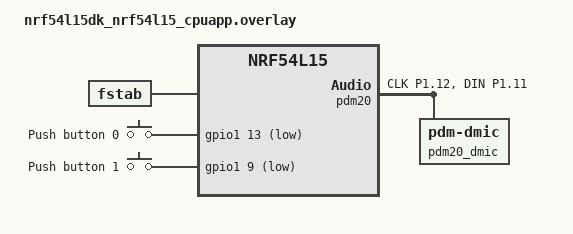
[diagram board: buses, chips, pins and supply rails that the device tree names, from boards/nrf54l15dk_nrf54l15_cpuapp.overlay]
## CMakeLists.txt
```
#
# Copyright (c) 2026
#
# SPDX-License-Identifier: Apache-2.0
#

cmake_minimum_required(VERSION 3.20.0)

# Opus codec and Ogg container: glue layers in modules/, sources in lib/
# (git submodules). Must be set before find_package(Zephyr).
set(ZEPHYR_EXTRA_MODULES
  ${CMAKE_CURRENT_SOURCE_DIR}/modules/opus
  ${CMAKE_CURRENT_SOURCE_DIR}/modules/ogg
)

find_package(Zephyr REQUIRED HINTS $ENV{ZEPHYR_BASE})
project(learning_zephyr_pdm)

target_sources(app PRIVATE
  src/main.c
  src/pdm_capture.c
  src/opus_enc.c
)
target_sources_ifdef(CONFIG_FILE_SYSTEM app PRIVATE src/recorder.c)
target_sources_ifdef(CONFIG_BT app PRIVATE src/smp_bt.c)
```

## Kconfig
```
menu "PDM & Encoder audio demo"

# The application image always includes the Opus encoder (CONFIG_OPUS=y
# in the base configs). Opus is fixed-point only, so no FPU is needed.

choice
	prompt "PCM sample rate"
	default PDM_DEMO_SAMPLE_RATE_16000
	help
	  PCM sample rate produced by the PDM/DMIC path and fed to the Opus
	  encoder. 48 kHz is not offered: it exceeds the Opus CPU budget
	  (stereo) and has no exact clock from 32 MHz. Of the remaining
	  rates only 8/16 kHz have an exact PDM clock; 12/24 kHz land
	  ~0.6-0.8% off and 24 kHz stereo is marginal on CPU. A
	  build-time assert in opus_enc.c rejects combinations whose
	  encode estimate exceeds 75% of the block period.

config PDM_DEMO_SAMPLE_RATE_8000
	bool "8 kHz"

config PDM_DEMO_SAMPLE_RATE_12000
	bool "12 kHz"

config PDM_DEMO_SAMPLE_RATE_16000
	bool "16 kHz"

config PDM_DEMO_SAMPLE_RATE_24000
	bool "24 kHz"

endchoice

# Numeric form of the choice above, for arithmetic in the code.
config PDM_DEMO_SAMPLE_RATE
	int
	default 8000 if PDM_DEMO_SAMPLE_RATE_8000
	default 12000 if PDM_DEMO_SAMPLE_RATE_12000
	default 16000 if PDM_DEMO_SAMPLE_RATE_16000
	default 24000 if PDM_DEMO_SAMPLE_RATE_24000

choice
	prompt "PDM channel configuration"
	default PDM_DEMO_STEREO
	help
	  Stereo captures both PDM channels as interleaved 16-bit PCM.
	  Mono captures one of the two PDM_CLK half-cycle slots; pick the
	  edge matching the external microphone SEL strap (see the
	  options' help text).

config PDM_DEMO_STEREO
	bool "Stereo (interleaved left/right)"

config PDM_DEMO_MONO_RISING_EDGE
	bool "Mono, rising-edge slot (SEL-low microphone)"
	help
	  Capture the microphone whose data is valid on the rising edge
	  of PDM_CLK - the one with SEL/LR strapped to GND ("left" in
	  most microphone datasheets).

config PDM_DEMO_MONO_FALLING_EDGE
	bool "Mono, falling-edge slot (SEL-high microphone)"
	help
	  Capture the microphone whose data is valid on the falling edge
	  of PDM_CLK - the one with SEL/LR strapped to VDD ("right" in
	  most microphone datasheets).

endchoice

choice
	prompt "PCM DMA block duration"
	default PDM_DEMO_BLOCK_MS_20
	help
	  Each block is encoded as exactly one Opus frame, so only legal
	  Opus frame durations are offered. Smaller blocks wake the CPU
	  more often during capture.

config PDM_DEMO_BLOCK_MS_5
	bool "5 ms"

config PDM_DEMO_BLOCK_MS_10
	bool "10 ms"

config PDM_DEMO_BLOCK_MS_20
	bool "20 ms"

config PDM_DEMO_BLOCK_MS_40
	bool "40 ms"

config PDM_DEMO_BLOCK_MS_60
	bool "60 ms"

endchoice

# Numeric form of the choice above, for arithmetic in the code.
config PDM_DEMO_BLOCK_MS
	int
	default 5 if PDM_DEMO_BLOCK_MS_5
	default 10 if PDM_DEMO_BLOCK_MS_10
	default 20 if PDM_DEMO_BLOCK_MS_20
	default 40 if PDM_DEMO_BLOCK_MS_40
	default 60 if PDM_DEMO_BLOCK_MS_60

# The number of PCM DMA blocks is not a Kconfig: it is derived from the
# devicetree `queue-size` property of the pdm20 node (single source of
# truth, see pdm_capture.c).

config PDM_DEMO_OPUS_COMPLEXITY
	int "Opus encoder complexity (0-10)"
	default 0
	range 0 10
	help
	  Opus complexity setting. Higher values cost more CPU: complexity
	  10 is far from real time on a 128 MHz Cortex-M33 (~250 ms per
	  20 ms stereo frame), keep at 0 for this demo.

config PDM_DEMO_GAIN_DB
	int "Digital gain on PCM before Opus encoding (dB)"
	default 0
	range 0 40
	help
	  Fixed-point gain applied to every PCM sample ahead of the Opus
	  encoder (gain after compression would need a decode/gain/re-encode
	  round trip). 6 dB doubles the amplitude. Too much gain clips loud
	  sounds (samples saturate at int16 range).

config PDM_DEMO_REC_SECONDS
	int "Maximum recording length (seconds)"
	default 300
	range 1 3600
	help
	  Recording is toggled with Button 0; this is the safety cap at
	  which a recording stops and the file is saved automatically,
	  so a forgotten recording cannot fill the flash.

config PDM_DEMO_PDM_ONLY
	bool "PDM + Opus only power baseline (no storage, LED or BLE)"
    default n
	help
	  Pure PDM capture + Opus encoding mode for power measurement:
	  the encoded frames are discarded, and recording to flash, the
	  LED and BLE/SMP are all compiled out. Used by prj_pdm_only.conf,
	  which also disables serial/logging. The base configuration must
	  not enable FILE_SYSTEM or BT when this is set.

# The Opus encoder state is malloc'ed at startup (measured 43308 bytes
# at 16 kHz stereo, fixed-point), in all configurations including
# pdm_only (encoder created but its output discarded).
config HEAP_MEM_POOL_SIZE
	default 131072

# opus_encode() uses alloca for temporary buffers; the float path
# overflowed a 24 KB main stack in testing.
config MAIN_STACK_SIZE
	default 65536

endmenu

source "Kconfig.zephyr"
```

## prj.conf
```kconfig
#
# PDM Opus recorder for nRF54L15 / nRF54LM20 DK
# Debug configuration with asynchronous UART logging.
#

#
# Zephyr / NCS subsystems
#

# --- Console and serial logging ---
CONFIG_SERIAL=y
CONFIG_CONSOLE=y
CONFIG_UART_CONSOLE=y
CONFIG_LOG=y
CONFIG_LOG_BACKEND_UART_ASYNC=y
CONFIG_UART_ASYNC_API=y
CONFIG_LOG_PRINTK=y
CONFIG_CONSOLE_HANDLER=n
# Silence the Bluetooth host's own boot chatter (HCI version, identity,
# adv/scan internals all share the bt_hci_core log module). Advertising
# and connection events are logged by the app itself (smp_bt.c).
CONFIG_BT_HCI_CORE_LOG_LEVEL_OFF=y

# --- Digital microphone ---
CONFIG_AUDIO=y
CONFIG_AUDIO_DMIC=y
CONFIG_AUDIO_DMIC_NRFX_PDM=y

# --- GPIO and PDM pin control ---
# Button/LED come from the NCS DK library (debounce built in).
CONFIG_DK_LIBRARY=y

# --- External flash (MX25R64 on spi00) and LittleFS ---
CONFIG_SPI=y
CONFIG_SPI_NOR=y
CONFIG_FLASH=y
CONFIG_FLASH_MAP=y
CONFIG_FILE_SYSTEM=y
CONFIG_FILE_SYSTEM_LITTLEFS=y
# 4 KB layout pages for the MX25R64.
CONFIG_SPI_NOR_FLASH_LAYOUT_PAGE_SIZE=4096
# Larger LittleFS cache (fewer, bigger flash programs). Must match the
# cache-size property of the lfs1 node in boards/*.overlay: Zephyr sizes
# the file-cache heap from this Kconfig value while the runtime cache
# comes from Devicetree; a mismatch makes fs_open fail with ENOMEM.
CONFIG_FS_LITTLEFS_CACHE_SIZE=512

# --- Bluetooth ---
CONFIG_BT=y
CONFIG_BT_PERIPHERAL=y
CONFIG_BT_DEVICE_NAME="PDM_SMP"
# Large MTU: one SMP chunk per ATT notification spans up to 4 LL PDUs,
# so a single connection event moves more data. Phones cap the
# negotiated MTU at their own maximum (~517), which is fine.
CONFIG_BT_L2CAP_TX_MTU=988
CONFIG_BT_BUF_ACL_RX_SIZE=992
CONFIG_BT_BUF_ACL_TX_SIZE=992
CONFIG_BT_CTLR_DATA_LENGTH_MAX=251
# Idle connection parameters (peripheral preferred): 100-200 ms interval
# for low idle current. During SMP transfers MCUMgr's conn-param control
# temporarily switches to 7.5-11.25 ms and restores these after 5 s of
# inactivity, so transfers stay fast. Supervision timeout must exceed
# 2 x max interval (latency 0).
CONFIG_BT_PERIPHERAL_PREF_MIN_INT=80
CONFIG_BT_PERIPHERAL_PREF_MAX_INT=160
CONFIG_BT_PERIPHERAL_PREF_TIMEOUT=100

# --- MCUMgr file management (download recordings from /lfs1) ---
CONFIG_NET_BUF=y
CONFIG_ZCBOR=y
CONFIG_CRC=y
CONFIG_MCUMGR=y
CONFIG_MCUMGR_GRP_FS=y
# OS group: echo/reset, handy for connectivity checks.
CONFIG_MCUMGR_GRP_OS=y
# fs upload overflows the default 1024-byte system workqueue stack.
CONFIG_SYSTEM_WORKQUEUE_STACK_SIZE=2304
# MCUMgr BLE transport (unauthenticated, same as the smp_svr sample).
CONFIG_MCUMGR_TRANSPORT_BT=y
CONFIG_MCUMGR_TRANSPORT_BT_CONN_PARAM_CONTROL=y
CONFIG_MCUMGR_TRANSPORT_BT_REASSEMBLY=y
CONFIG_MCUMGR_TRANSPORT_NETBUF_SIZE=2475
CONFIG_MCUMGR_GRP_OS_MCUMGR_PARAMS=y
CONFIG_MCUMGR_TRANSPORT_WORKQUEUE_STACK_SIZE=4608

# --- Shell over SMP (run `fs ls /lfs1` etc. from the phone app) ---
# Dummy backend: no UART shell, the shell is only driven via MCUMgr.
CONFIG_SHELL=y
CONFIG_SHELL_BACKEND_DUMMY=y
CONFIG_SHELL_BACKEND_SERIAL=n
CONFIG_SHELL_LOG_BACKEND=n
CONFIG_MCUMGR_GRP_SHELL=y
CONFIG_FILE_SYSTEM_SHELL=y

# --- Device runtime power management ---
# Peripherals marked zephyr,pm-device-runtime-auto in the overlays suspend
# themselves when idle. Note: dmic_nrfx_pdm has no PM support, so the
# property on pdm20 is inert until the driver gains it.
CONFIG_PM_DEVICE=y
CONFIG_PM_DEVICE_RUNTIME=y
# Keep the flash awake for a while after each access; during recording
# fs ops arrive every few ms, so the flash stays active for the whole
# clip instead of paying a deep-power-down exit per operation.
CONFIG_SPI_NOR_ACTIVE_DWELL_MS=500

# --- Application resources ---
CONFIG_ASSERT=y

#
# Third-party libraries (external modules)
#

# --- Opus codec ---
# Shared audio parameters (sample rate, block duration, channels) are
# Kconfig options; see Kconfig for details.
CONFIG_OPUS=y

# --- Ogg container (Opus frames are stored as playable .opus files) ---
CONFIG_OGG=y

#
# Application options
#

# The on-board microphone is quiet; +12 dB (x4 amplitude) on the PCM
# before encoding. Applies to all configurations with storage/encoding.
CONFIG_PDM_DEMO_GAIN_DB=12
```

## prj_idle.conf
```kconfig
#
# Idle baseline image.
# The application returns immediately and PDM/DMIC are disabled.
#

CONFIG_PDM_DEMO_ENABLE=n
CONFIG_AUDIO_DMIC=n
CONFIG_AUDIO_DMIC_NRFX_PDM=n
CONFIG_NRFX_PDM=n

CONFIG_LOG=n
CONFIG_LOG_BACKEND_UART_ASYNC=n
CONFIG_UART_ASYNC_API=n
CONFIG_SERIAL=n
CONFIG_CONSOLE=n
CONFIG_UART_CONSOLE=n
CONFIG_LOG_PRINTK=n
CONFIG_NCS_BOOT_BANNER=n
CONFIG_BOOT_BANNER=n
CONFIG_EARLY_CONSOLE=n
CONFIG_PRINTK=n
CONFIG_UART_20_ASYNC=n
```

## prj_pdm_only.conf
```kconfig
#
# Pure PDM + Opus power baseline: button-toggled capture and encoding,
# but no storage, no LED, no SMP/BLE, no serial — so the radio and flash
# never perturb the measurement.
# Build with: -DFILE_SUFFIX=pdm_only
#

#
# Zephyr / NCS subsystems
#

# --- No serial / console / logging ---
CONFIG_SERIAL=n
CONFIG_CONSOLE=n
CONFIG_LOG=n
CONFIG_LOG_PRINTK=n
CONFIG_PRINTK=n
CONFIG_NCS_BOOT_BANNER=n
CONFIG_BOOT_BANNER=n
CONFIG_EARLY_CONSOLE=n
# The board defconfig sets this; silence the resulting warning.
CONFIG_UART_CONSOLE=n

# --- Digital microphone ---
CONFIG_AUDIO=y
CONFIG_AUDIO_DMIC=y
CONFIG_AUDIO_DMIC_NRFX_PDM=y
# Button comes from the NCS DK library (debounce built in).
CONFIG_DK_LIBRARY=y

# --- Device runtime power management ---
CONFIG_PM_DEVICE=y
CONFIG_PM_DEVICE_RUNTIME=y

# --- Application resources ---
CONFIG_ASSERT=y

#
# Third-party libraries (external modules)
#

# --- Opus codec (encoded, not stored) ---
CONFIG_OPUS=y

#
# Application options
#

# Power-baseline mode: main.c compiles out storage/LED (see Kconfig).
CONFIG_PDM_DEMO_PDM_ONLY=y
```

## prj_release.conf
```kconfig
#
# Release base configuration for current measurement.
# Build with: -DFILE_SUFFIX=release
#
# Full feature set: PDM capture + Opus encoding + button recording +
# SMP over BLE. Serial/logging disabled, so no UART SMP transport.
#

#
# Zephyr / NCS subsystems
#

# --- No serial / console / logging ---
CONFIG_SERIAL=n
CONFIG_CONSOLE=n
CONFIG_LOG=n
CONFIG_LOG_PRINTK=n
CONFIG_PRINTK=n
CONFIG_NCS_BOOT_BANNER=n
CONFIG_BOOT_BANNER=n
CONFIG_EARLY_CONSOLE=n
# The board defconfig sets this; silence the resulting warning.
CONFIG_UART_CONSOLE=n

# --- Digital microphone ---
CONFIG_AUDIO=y
CONFIG_AUDIO_DMIC=y
CONFIG_AUDIO_DMIC_NRFX_PDM=y
# Button/LED come from the NCS DK library (debounce built in).
CONFIG_DK_LIBRARY=y

# --- External flash (MX25R64 on spi00) and LittleFS ---
CONFIG_SPI=y
CONFIG_SPI_NOR=y
CONFIG_SPI_NOR_FLASH_LAYOUT_PAGE_SIZE=4096
# See prj.conf: larger LittleFS cache (must match the overlay's
# cache-size, or the file-cache heap is under-allocated).
CONFIG_FS_LITTLEFS_CACHE_SIZE=512
CONFIG_FLASH=y
CONFIG_FLASH_MAP=y
CONFIG_FILE_SYSTEM=y
CONFIG_FILE_SYSTEM_LITTLEFS=y

# --- Bluetooth ---
CONFIG_BT=y
CONFIG_BT_PERIPHERAL=y
CONFIG_BT_DEVICE_NAME="PDM_SMP"
# See prj.conf: large MTU (more data per connection event), 100-200 ms
# idle connection interval (MCUMgr temporarily speeds up during SMP
# transfers), 1 s supervision timeout.
CONFIG_BT_L2CAP_TX_MTU=988
CONFIG_BT_BUF_ACL_RX_SIZE=992
CONFIG_BT_BUF_ACL_TX_SIZE=992
CONFIG_BT_CTLR_DATA_LENGTH_MAX=251
CONFIG_BT_PERIPHERAL_PREF_MIN_INT=80
CONFIG_BT_PERIPHERAL_PREF_MAX_INT=160
CONFIG_BT_PERIPHERAL_PREF_TIMEOUT=100

# --- MCUMgr file management over BLE ---
CONFIG_NET_BUF=y
CONFIG_ZCBOR=y
CONFIG_CRC=y
CONFIG_MCUMGR=y
CONFIG_MCUMGR_GRP_FS=y
CONFIG_MCUMGR_GRP_OS=y
# fs upload overflows the default 1024-byte system workqueue stack.
CONFIG_SYSTEM_WORKQUEUE_STACK_SIZE=2304
CONFIG_MCUMGR_TRANSPORT_BT=y
CONFIG_MCUMGR_TRANSPORT_BT_CONN_PARAM_CONTROL=y
CONFIG_MCUMGR_TRANSPORT_BT_REASSEMBLY=y
CONFIG_MCUMGR_TRANSPORT_NETBUF_SIZE=2475
CONFIG_MCUMGR_GRP_OS_MCUMGR_PARAMS=y
CONFIG_MCUMGR_TRANSPORT_WORKQUEUE_STACK_SIZE=4608

# --- Shell over SMP (fs ls etc. from the phone app) ---
CONFIG_SHELL=y
CONFIG_SHELL_BACKEND_DUMMY=y
CONFIG_SHELL_BACKEND_SERIAL=n
CONFIG_SHELL_LOG_BACKEND=n
CONFIG_MCUMGR_GRP_SHELL=y
CONFIG_FILE_SYSTEM_SHELL=y

# --- Device runtime power management ---
CONFIG_PM_DEVICE=y
CONFIG_PM_DEVICE_RUNTIME=y
CONFIG_SPI_NOR_ACTIVE_DWELL_MS=500

# --- Application resources ---
CONFIG_ASSERT=y

#
# Third-party libraries (external modules)
#

# --- Opus codec ---
CONFIG_OPUS=y

# --- Ogg container ---
CONFIG_OGG=y

#
# Application options
#

CONFIG_PDM_DEMO_GAIN_DB=12
```

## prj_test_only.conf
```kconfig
#
# Pure PDM + Opus power baseline: button-toggled capture and encoding,
# but no storage, no LED, no SMP/BLE, no serial — so the radio and flash
# never perturb the measurement.
# Build with: -DFILE_SUFFIX=test_only
#

# --- No serial / console / logging ---
CONFIG_SERIAL=n
CONFIG_CONSOLE=n
CONFIG_LOG=n
CONFIG_LOG_PRINTK=n
CONFIG_PRINTK=n
CONFIG_NCS_BOOT_BANNER=n
CONFIG_BOOT_BANNER=n
CONFIG_EARLY_CONSOLE=n
# The board defconfig sets this; silence the resulting warning.
CONFIG_UART_CONSOLE=n

# --- Digital microphone + Opus (encoded, not stored) ---
CONFIG_AUDIO=y
CONFIG_AUDIO_DMIC=y
CONFIG_AUDIO_DMIC_NRFX_PDM=y
CONFIG_GPIO=y
CONFIG_OPUS=y

# --- Device runtime power management ---
CONFIG_PM_DEVICE=y
CONFIG_PM_DEVICE_RUNTIME=y

# --- Application resources ---
CONFIG_ASSERT=y
```

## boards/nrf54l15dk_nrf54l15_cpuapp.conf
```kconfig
#
# nRF54L15DK application-core board configuration
#

CONFIG_UART_20_ASYNC=y
```

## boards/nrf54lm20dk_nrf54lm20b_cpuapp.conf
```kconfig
#
# nRF54LM20DK application-core board configuration
#

CONFIG_UART_20_ASYNC=y
```

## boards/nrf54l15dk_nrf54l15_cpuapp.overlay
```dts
/*
 * nRF54L15DK PDM Opus recorder.
 *
 * PDM20:
 *   CLK: P1.12
 *   DIN: P1.11
 *
 * PDM capture starts automatically after boot.
 */

/ {
	/* LittleFS auto-mounts at /lfs1. */
	fstab {
		compatible = "zephyr,fstab";

		lfs1: lfs1 {
			compatible = "zephyr,fstab,littlefs";
			mount-point = "/lfs1";
			partition = <&lfs1_partition>;
			automount;
			/* Program in full 256-byte MX25R64 flash pages:
			 * 16-byte progs turn one 4 KB Ogg page write into
			 * 256 page-program commands (~100-180 ms), stalling
			 * the capture loop and burning power.
			 * NOTE: cache-size is a required binding property, but
			 * Zephyr sizes the file-cache heap from
			 * CONFIG_FS_LITTLEFS_CACHE_SIZE only - keep the two
			 * in sync or fs_open fails with ENOMEM. */
			read-size = <16>;
			prog-size = <256>;
			cache-size = <512>;
			lookahead-size = <32>;
			block-cycles = <512>;
		};
	};

	/* Buttons used by the demo, re-declared from the board dts so the
	 * app does not silently break if the board defaults ever change:
	 *   Button 0 (P1.13): start/stop recording
	 *   Button 1 (P1.9):  long-press deletes all recordings */
	buttons {
		button_0 {
			gpios = <&gpio1 13 (GPIO_PULL_UP | GPIO_ACTIVE_LOW)>;
			label = "Push button 0";
			zephyr,code = <INPUT_KEY_0>;
		};

		button_1 {
			gpios = <&gpio1 9 (GPIO_PULL_UP | GPIO_ACTIVE_LOW)>;
			label = "Push button 1";
			zephyr,code = <INPUT_KEY_1>;
		};
	};
};

/* External flash (MX25R64 on spi00): whole 8 MB for LittleFS.
 * Raise the clock to the SPIM00 maximum (128 MHz core / 4) to shorten
 * fs_write stalls. */
&mx25r64 {
	spi-max-frequency = <32000000>;
	zephyr,pm-device-runtime-auto;

	partitions {
		compatible = "fixed-partitions";
		#address-cells = <1>;
		#size-cells = <1>;

		lfs1_partition: partition@0 {
			label = "lfs1_partition";
			reg = <0x00000000 0x00800000>;
		};
	};
};

&pdm20 {
	status = "okay";
	pinctrl-0 = <&pdm20_default_pdm_demo>;
	pinctrl-1 = <&pdm20_sleep_pdm_demo>;
	pinctrl-names = "default", "sleep";
	clock-source = "PCLK32M";
	queue-size = <16>;
	zephyr,pm-device-runtime-auto;

	pdm20_dmic: dmic {
		compatible = "zephyr,pdm-dmic";
		status = "okay";
		/* PDM clock window for the driver's prescaler/ratio search
		 * (PDM_CLK = 32 MHz / prescaler, PCM = PDM_CLK / ratio).
		 * 500 kHz floor still allows exact 8 kHz (640 kHz) and
		 * best-effort 12 kHz (604 kHz); 2 MHz ceiling keeps the
		 * clock within what a standard GPIO edge rate handles
		 * safely. Exact rates from 32 MHz: 8/16 kHz; 12/24 kHz
		 * land ~0.6-0.8% off; 48 kHz would need 2.29 MHz and is
		 * excluded by the ceiling (stereo 48 kHz also exceeds the
		 * Opus CPU budget, see opus_enc.c). */
		clk-frequency-min = <500000>;
		clk-frequency-max = <2000000>;
		clk-duty-cycle-min = <40>;
		clk-duty-cycle-max = <60>;
		channel-left;
		channel-right;
	};
};

/* Buttons 0/1 (P1.13, P1.9): use the GPIO sense mechanism (port event)
 * for edge detection instead of GPIOTE pin-event channels. The mask is
 * per-pin, so every button pin must be listed explicitly. */
&gpio1 {
	sense-edge-mask = <(BIT(13) | BIT(9))>;
};

/* Runtime PM for the console UART and the external-flash SPI bus;
 * the drivers resume them on demand (log TX / fs access). */
&uart20 {
	zephyr,pm-device-runtime-auto;
};

&spi00 {
	zephyr,pm-device-runtime-auto;
};

&pinctrl {
	pdm20_default_pdm_demo: pdm20_default_pdm_demo {
		group1 {
			psels = <NRF_PSEL(PDM_CLK, 1, 12)>,
					<NRF_PSEL(PDM_DIN, 1, 11)>;
			nordic,drive-mode = <NRF_DRIVE_H0H1>;
		};
	};

	pdm20_sleep_pdm_demo: pdm20_sleep_pdm_demo {
		group1 {
			psels = <NRF_PSEL(PDM_CLK, 1, 12)>,
					<NRF_PSEL(PDM_DIN, 1, 11)>;
			low-power-enable;
		};
	};
};
```

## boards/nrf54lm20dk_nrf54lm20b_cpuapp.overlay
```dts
/*
 * nRF54LM20DK PDM Opus recorder.
 *
 * PDM20:
 *   CLK: P1.12
 *   DIN: P1.11
 *
 * PDM capture starts automatically after boot.
 */

/ {
	/* LittleFS auto-mounts at /lfs1. */
	fstab {
		compatible = "zephyr,fstab";

		lfs1: lfs1 {
			compatible = "zephyr,fstab,littlefs";
			mount-point = "/lfs1";
			partition = <&lfs1_partition>;
			automount;
			/* Program in full 256-byte MX25R64 flash pages:
			 * 16-byte progs turn one 4 KB Ogg page write into
			 * 256 page-program commands (~100-180 ms), stalling
			 * the capture loop and burning power.
			 * NOTE: cache-size is a required binding property, but
			 * Zephyr sizes the file-cache heap from
			 * CONFIG_FS_LITTLEFS_CACHE_SIZE only - keep the two
			 * in sync or fs_open fails with ENOMEM. */
			read-size = <16>;
			prog-size = <256>;
			cache-size = <512>;
			lookahead-size = <32>;
			block-cycles = <512>;
		};
	};

	/* Buttons used by the demo, re-declared from the board dts so the
	 * app does not silently break if the board defaults ever change:
	 *   Button 0 (P1.26): start/stop recording
	 *   Button 1 (P1.9):  long-press deletes all recordings */
	buttons {
		button_0 {
			gpios = <&gpio1 26 (GPIO_PULL_UP | GPIO_ACTIVE_LOW)>;
			label = "Push button 0";
			zephyr,code = <INPUT_KEY_0>;
		};

		button_1 {
			gpios = <&gpio1 9 (GPIO_PULL_UP | GPIO_ACTIVE_LOW)>;
			label = "Push button 1";
			zephyr,code = <INPUT_KEY_1>;
		};
	};
};

/* External flash (MX25R64 on spi00): whole 8 MB for LittleFS.
 * Disabled in the board dts, enable it here. Raise the clock to the
 * SPIM00 maximum (128 MHz core / 4) to shorten fs_write stalls. */
&mx25r64 {
	status = "okay";
	spi-max-frequency = <32000000>;
	zephyr,pm-device-runtime-auto;

	partitions {
		compatible = "fixed-partitions";
		#address-cells = <1>;
		#size-cells = <1>;

		lfs1_partition: partition@0 {
			label = "lfs1_partition";
			reg = <0x00000000 0x00800000>;
		};
	};
};

&pdm20 {
	status = "okay";
	pinctrl-0 = <&pdm20_default_pdm_demo>;
	pinctrl-1 = <&pdm20_sleep_pdm_demo>;
	pinctrl-names = "default", "sleep";
	clock-source = "PCLK32M";
	queue-size = <16>;
	zephyr,pm-device-runtime-auto;

	pdm20_dmic: dmic {
		compatible = "zephyr,pdm-dmic";
		status = "okay";
		/* PDM clock window for the driver's prescaler/ratio search
		 * (PDM_CLK = 32 MHz / prescaler, PCM = PDM_CLK / ratio).
		 * 500 kHz floor still allows exact 8 kHz (640 kHz) and
		 * best-effort 12 kHz (604 kHz); 2 MHz ceiling keeps the
		 * clock within what a standard GPIO edge rate handles
		 * safely. Exact rates from 32 MHz: 8/16 kHz; 12/24 kHz
		 * land ~0.6-0.8% off; 48 kHz would need 2.29 MHz and is
		 * excluded by the ceiling (stereo 48 kHz also exceeds the
		 * Opus CPU budget, see opus_enc.c). */
		clk-frequency-min = <500000>;
		clk-frequency-max = <2000000>;
		clk-duty-cycle-min = <40>;
		clk-duty-cycle-max = <60>;
		channel-left;
		channel-right;
	};
};

/* Buttons 0/1 (P1.26, P1.9): use the GPIO sense mechanism (port event)
 * for edge detection instead of GPIOTE pin-event channels. The mask is
 * per-pin, so every button pin must be listed explicitly. */
&gpio1 {
	sense-edge-mask = <(BIT(26) | BIT(9))>;
};

/* Runtime PM on the console UART and the external-flash SPI bus too;
 * the drivers resume them on demand (log TX / fs access). During
 * recording the app pins flash+bus active with pm_device_runtime_get()
 * (see recorder.c) so per-op resume latency cannot starve the
 * real-time capture loop. */
&uart20 {
	zephyr,pm-device-runtime-auto;
};

&spi00 {
	zephyr,pm-device-runtime-auto;
};

&pinctrl {
	pdm20_default_pdm_demo: pdm20_default_pdm_demo {
		group1 {
			psels = <NRF_PSEL(PDM_CLK, 1, 12)>,
				<NRF_PSEL(PDM_DIN, 1, 11)>;
			nordic,drive-mode = <NRF_DRIVE_H0H1>;
		};
	};

	pdm20_sleep_pdm_demo: pdm20_sleep_pdm_demo {
		group1 {
			psels = <NRF_PSEL(PDM_CLK, 1, 12)>,
				<NRF_PSEL(PDM_DIN, 1, 11)>;
			low-power-enable;
		};
	};
};
```

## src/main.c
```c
/*
 * nrf54l_pdm_opus_recorder — nRF54L15/LM20 DK PDM Opus recorder
 *
 * This file is only the demo state machine; each building block lives in
 * its own module so they can be read independently:
 *
 *   pdm_capture.c  PDM20/DMIC capture (PCM blocks)
 *   opus_enc.c     Opus encoder wrapper
 *   recorder.c     Ogg Opus files on LittleFS (external flash)
 *   smp_bt.c       BLE SMP (MCUMgr) file transfer
 *
 * PDM stays off at idle. Pressing Button 0 starts capture and records
 * Opus audio to /lfs1/rec_XXXX.opus; pressing it again (or reaching
 * CONFIG_PDM_DEMO_REC_SECONDS) stops and saves. LED0 is on while
 * recording. Long-pressing Button 1 deletes all recordings.
 *
 * SPDX-License-Identifier: Apache-2.0
 */

#include <errno.h>
#include <stdbool.h>
#include <stddef.h>
#include <stdint.h>

#if CONFIG_PDM_DEMO_GAIN_DB > 0
#include <math.h>
#endif

#include <dk_buttons_and_leds.h>

#include <zephyr/kernel.h>

#include <zephyr/logging/log.h>

#include "audio_defs.h"
#include "opus_enc.h"
#include "pdm_capture.h"
#include "recorder.h"

LOG_MODULE_REGISTER(pdm_opus_recorder, LOG_LEVEL_INF);

/* prj_pdm_only.conf is a pure PDM + Opus power baseline: no storage,
 * no LED, no BLE. Everything file/LED related is compiled out there. */
#define RECORDER_ENABLED	(!IS_ENABLED(CONFIG_PDM_DEMO_PDM_ONLY))

#if !RECORDER_ENABLED
BUILD_ASSERT(!IS_ENABLED(CONFIG_FILE_SYSTEM) && !IS_ENABLED(CONFIG_BT),
	     "pdm_only must not enable storage or BLE");
#endif

/* --- Button 0 / LED 0 (NCS DK library, debounce built in) --- */

#define REC_BTN_EVT	BIT(0)
#define DEL_BTN_EVT	BIT(1)

/* The DK library numbers buttons/LEDs from 1 (an nRF52 DK legacy),
 * while the nRF54L DK silkscreen and devicetree number them from 0:
 * DK_BTN1 / DK_LED1 are the on-board Button 0 / LED 0. */
#define REC_BTN_MSK	DK_BTN1_MSK
#define REC_LED		DK_LED1

/* Long-press Button 1 (DK library DK_BTN2) to delete all recordings. */
#define DEL_BTN_MSK		DK_BTN2_MSK
#define DEL_LED			DK_LED2
#define DEL_LONG_PRESS_MS	3000

static K_EVENT_DEFINE(rec_events);

/* Desired recording state, toggled by the debounced button callback
 * (system workqueue context); the main loop turns it into actual
 * capture start/stop. */
static volatile bool rec_active;

/* Long-press detection: the debounced DK handler only reports edges,
 * so a press arms a delayed work and a release cancels it; if it
 * expires, the button has been held for DEL_LONG_PRESS_MS. */
static void del_work_handler(struct k_work *work);

static K_WORK_DELAYABLE_DEFINE(del_work, del_work_handler);

static void del_work_handler(struct k_work *work)
{
	ARG_UNUSED(work);
	k_event_post(&rec_events, DEL_BTN_EVT);
}

static void button_handler(uint32_t state, uint32_t changed)
{
	if ((changed & REC_BTN_MSK) && (state & REC_BTN_MSK)) {
		rec_active = !rec_active;
#if RECORDER_ENABLED
		/* LED0 follows the recording state. */
		(void)dk_set_led(REC_LED, rec_active);
#endif
		k_event_post(&rec_events, REC_BTN_EVT);
	}

	if (changed & DEL_BTN_MSK) {
		if (state & DEL_BTN_MSK) {
			k_work_reschedule(&del_work,
					  K_MSEC(DEL_LONG_PRESS_MS));
		} else {
			(void)k_work_cancel_delayable(&del_work);
		}
	}
}

/* LED is part of the storage demo only; the pdm_only configuration is a
 * power baseline and keeps it off. */
static void rec_led_off(void)
{
#if RECORDER_ENABLED
	(void)dk_set_led_off(REC_LED);
#endif
}

#if RECORDER_ENABLED
/* Delete all recordings (long-press path). LED1 is on while erasing. */
static void delete_all_recordings(void)
{
	int ret;

	(void)dk_set_led_on(DEL_LED);
	ret = recorder_delete_all();
	(void)dk_set_led_off(DEL_LED);

	if (ret >= 0) {
		LOG_INF("Deleted all recordings (%d file(s))", ret);
	} else {
		LOG_WRN("Delete all failed: %d", ret);
	}
}
#endif

/* --- PCM gain (applied before Opus encoding) --- */

#if CONFIG_PDM_DEMO_GAIN_DB > 0
static int32_t gain_q16 = 65536; /* Q16, 1.0x */

static void gain_init(void)
{
	gain_q16 = (int32_t)(pow(10.0, CONFIG_PDM_DEMO_GAIN_DB / 20.0) *
			     65536.0);
	LOG_INF("PCM gain %d dB (x%u.%02u)", CONFIG_PDM_DEMO_GAIN_DB,
		(unsigned)(gain_q16 >> 16),
		(unsigned)((gain_q16 & 0xFFFF) * 100 / 65536));
}

/* Fixed-point Q16 multiply with int16 saturation. Gain must live before
 * compression: Opus packets cannot be scaled linearly.
 * The product is computed in int64: with int32 the multiply can overflow
 * (signed overflow is UB), which lets the compiler legally optimize the
 * CLAMP away entirely - loud signals then wrap around instead of
 * saturating. */
static void apply_gain(int16_t *samples, size_t size)
{
	for (size_t i = 0; i < size / sizeof(*samples); i++) {
		int32_t s = (int32_t)(((int64_t)samples[i] * gain_q16 +
				       0x8000) >> 16);

		samples[i] = (int16_t)CLAMP(s, INT16_MIN, INT16_MAX);
	}
}
#else
static void gain_init(void) { }
#endif

/* --- Recording chain helpers --- */

/* Start the whole chain: PDM capture + file recording. */
static int recording_start(void)
{
	if (pdm_capture_start() < 0) {
		return -EIO;
	}
#if RECORDER_ENABLED
	if (recorder_start() < 0) {
		pdm_capture_stop();
		return -EIO;
	}
#endif
	return 0;
}

/* Stop PDM first (no new frames), then flush the file. */
static void recording_stop(void)
{
	pdm_capture_stop();
#if RECORDER_ENABLED
	/* No-op when the CONFIG_PDM_DEMO_REC_SECONDS cap already closed
	 * the file. */
	recorder_stop();
#endif
}

static void log_stats(uint32_t block_count)
{
	uint64_t bytes_total;
	uint32_t max_us, err;

	opus_enc_get_stats(&bytes_total, &max_us, &err);
	LOG_INF("Blocks %u, opus avg %llu B/frame, max enc %u us, err %u",
		block_count, bytes_total / block_count, max_us, err);
}

static void capture_loop(void)
{
	static uint8_t opus_packet[OPUS_MAX_PACKET];

	while (true) {
		/* Idle: PDM off, sleep until the button toggles rec_active
		 * or a long press requests a delete-all. A delete request
		 * posted during recording is handled once the clip ends. */
		uint32_t evt = k_event_wait(&rec_events,
					    REC_BTN_EVT | DEL_BTN_EVT,
					    true, K_FOREVER);

#if RECORDER_ENABLED
		if (evt & DEL_BTN_EVT) {
			delete_all_recordings();
		}
#else
		ARG_UNUSED(evt);
#endif
		if (!rec_active) {
			continue; /* stop press while idle: ignore */
		}

		if (recording_start() < 0) {
			rec_active = false;
			rec_led_off();
			continue;
		}

		uint32_t block_count = 0;

		while (rec_active) {
			void *buffer;
			size_t size;

			if (pdm_capture_read(&buffer, &size) < 0) {
				break;
			}

#if CONFIG_PDM_DEMO_GAIN_DB > 0
			apply_gain(buffer, size);
#endif
			/* One PCM block is exactly one Opus frame. */
			int nb = opus_enc_encode(buffer, opus_packet,
						 sizeof(opus_packet));

#if RECORDER_ENABLED
			if (nb > 0) {
				recorder_feed_frame(opus_packet, (uint16_t)nb);
			}
#else
			ARG_UNUSED(nb);
#endif
			pdm_capture_free(buffer);

			if ((++block_count % 100U) == 0U) {
				log_stats(block_count);
			}

#if RECORDER_ENABLED
			/* The recorder closes the file by itself at the
			 * CONFIG_PDM_DEMO_REC_SECONDS cap. */
			if (!recorder_is_recording()) {
				break;
			}
#endif
		}

		recording_stop();
		rec_active = false;
		rec_led_off();
	}
}

int main(void)
{
	gain_init();

	/* Buttons and LEDs come from the NCS DK library (debounce built
	 * in; the handler runs in the system workqueue). */
#if RECORDER_ENABLED
	if (dk_leds_init() != 0) {
		LOG_WRN("LED init failed, no recording indicator");
	}
#endif
	if (dk_buttons_init(button_handler) != 0) {
		LOG_ERR("Button init failed");
		return 0;
	}

	/* opus_enc / recorder / smp_bt / pdm_capture all self-init via
	 * SYS_INIT (APPLICATION level, priorities 50/60/70/80). */
	LOG_INF("%s PDM Opus recorder ready", CONFIG_BOARD);
	LOG_INF("PDM20 CLK=P1.12 DIN=P1.11, PCM=%u Hz/%u-bit",
		CONFIG_PDM_DEMO_SAMPLE_RATE, SAMPLE_BIT_WIDTH);
	LOG_INF("Press Button 0 to start/stop recording");
#if RECORDER_ENABLED
	LOG_INF("Long-press Button 1 (%u ms) to delete all recordings",
		DEL_LONG_PRESS_MS);
#endif

	capture_loop();

	return 0;
}
```

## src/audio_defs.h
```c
/*
 * Shared audio parameters for the PDM capture path (main.c) and the
 * Opus encoder (opus_enc.c).
 *
 * SPDX-License-Identifier: Apache-2.0
 */

#ifndef AUDIO_DEFS_H
#define AUDIO_DEFS_H

/* Shared by the PDM/DMIC path and the Opus encoder. */
#define SAMPLE_RATE        CONFIG_PDM_DEMO_SAMPLE_RATE
/* Both the DMIC driver and the opus_encode() s16 API are fixed at 16-bit. */
#define SAMPLE_BIT_WIDTH   16
#define BYTES_PER_SAMPLE   (SAMPLE_BIT_WIDTH / 8)

#if CONFIG_PDM_DEMO_STEREO
#define CHANNEL_COUNT 2
#else
#define CHANNEL_COUNT 1
#endif

#define AUDIO_BLOCK_SIZE \
	((SAMPLE_RATE * BYTES_PER_SAMPLE * CHANNEL_COUNT * \
	  CONFIG_PDM_DEMO_BLOCK_MS) / 1000)

/* One DMA block is encoded as exactly one Opus frame. */
#define OPUS_FRAME_SAMPLES (AUDIO_BLOCK_SIZE / BYTES_PER_SAMPLE / CHANNEL_COUNT)
#define OPUS_MAX_PACKET    512

#endif /* AUDIO_DEFS_H */
```

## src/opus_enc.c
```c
/*
 * Opus encoder wrapper: owns the encoder state and encode statistics.
 *
 * SPDX-License-Identifier: Apache-2.0
 */

#include <errno.h>
#include <stddef.h>
#include <stdint.h>

#include <zephyr/init.h>
#include <zephyr/kernel.h>
#include <opus.h>

#include <zephyr/logging/log.h>

#include "audio_defs.h"
#include "opus_enc.h"

LOG_MODULE_REGISTER(opus_enc, LOG_LEVEL_INF);

/* Build-time real-time budget check. Measured on the nRF54LM20
 * (128 MHz Cortex-M33, fixed-point, complexity 0): encoding costs at
 * most ~15 us per sample (both channels counted) - a 16 kHz stereo
 * 20 ms frame (640 samples) takes ~9.7 ms. Encode time scales with the
 * number of samples per frame, so require the estimate to fit in 75%
 * of the block period, leaving the rest for flash writes on the same
 * thread. 48 kHz stereo fails this at any frame length; 24 kHz stereo
 * is marginal. Higher complexity needs extra headroom not modeled
 * here. */
#define OPUS_ENC_US_PER_SAMPLE	15U

BUILD_ASSERT(OPUS_FRAME_SAMPLES * CHANNEL_COUNT * OPUS_ENC_US_PER_SAMPLE <=
	     (CONFIG_PDM_DEMO_BLOCK_MS * 1000U) * 3U / 4U,
	     "Opus encode estimate exceeds 75% of the block period: "
	     "lower the sample rate or channel count, or raise "
	     "PDM_DEMO_BLOCK_MS");

static OpusEncoder *opus_enc;

static uint32_t opus_frame_count;
static uint64_t opus_bytes_total;
static uint32_t opus_encode_max_us;
static uint32_t opus_err_count;

int opus_enc_init(void)
{
	int err;

	opus_enc = opus_encoder_create(SAMPLE_RATE, CHANNEL_COUNT,
				       OPUS_APPLICATION_VOIP, &err);
	if (err != OPUS_OK || opus_enc == NULL) {
		LOG_ERR("opus_encoder_create failed: %d", err);
		return -EIO;
	}

	/* Default complexity (10) is far from real time on a 128 MHz M33;
	 * lower it for the demo. */
	opus_encoder_ctl(opus_enc,
			 OPUS_SET_COMPLEXITY(CONFIG_PDM_DEMO_OPUS_COMPLEXITY));

	LOG_INF("Opus encoder ready: state %d bytes, frame %u samples/ch (%u ms), "
		"complexity %d",
		opus_encoder_get_size(CHANNEL_COUNT), OPUS_FRAME_SAMPLES,
		CONFIG_PDM_DEMO_BLOCK_MS, CONFIG_PDM_DEMO_OPUS_COMPLEXITY);
	return 0;
}

int opus_enc_encode(const void *pcm, uint8_t *pkt, size_t cap)
{
	uint32_t start_cycles = k_cycle_get_32();
	int nb_bytes = opus_encode(opus_enc, pcm, OPUS_FRAME_SAMPLES, pkt, cap);
	uint32_t encode_us =
		k_cyc_to_us_near32(k_cycle_get_32() - start_cycles);

	++opus_frame_count;

	if (nb_bytes < 0) {
		opus_err_count++;
		return nb_bytes;
	}

	opus_bytes_total += (uint32_t)nb_bytes;
	if (encode_us > opus_encode_max_us) {
		opus_encode_max_us = encode_us;
	}

	/* Per-frame timing for the first frames to gauge whether
	 * encoding keeps up with real time. */
	if (opus_frame_count <= 10U) {
		LOG_INF("Frame %u: %d bytes, enc %u us",
			opus_frame_count, nb_bytes, encode_us);
	}

	return nb_bytes;
}

void opus_enc_get_stats(uint64_t *bytes_total, uint32_t *max_us, uint32_t *err)
{
	*bytes_total = opus_bytes_total;
	*max_us = opus_encode_max_us;
	*err = opus_err_count;
}

int opus_enc_get_lookahead(void)
{
	int lookahead = 0;

	opus_encoder_ctl(opus_enc, OPUS_GET_LOOKAHEAD(&lookahead));
	return lookahead;
}

/* Self-init before main(); only needs the kernel heap. */
SYS_INIT(opus_enc_init, APPLICATION, 50);
```

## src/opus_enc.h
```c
/*
 * Opus encoder wrapper.
 *
 * SPDX-License-Identifier: Apache-2.0
 */

#ifndef OPUS_ENC_H
#define OPUS_ENC_H

#include <stddef.h>
#include <stdint.h>

/* Create the encoder and apply CONFIG_PDM_DEMO_OPUS_COMPLEXITY. */
int opus_enc_init(void);

/* Encode one PCM block (AUDIO_BLOCK_SIZE bytes) into pkt.
 * Returns the encoded byte count or a negative Opus error code. */
int opus_enc_encode(const void *pcm, uint8_t *pkt, size_t cap);

void opus_enc_get_stats(uint64_t *bytes_total, uint32_t *max_us, uint32_t *err);

/* Encoder lookahead in samples, for the OpusHead pre-skip field. */
int opus_enc_get_lookahead(void);

#endif /* OPUS_ENC_H */
```

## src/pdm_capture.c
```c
/*
 * PDM capture module (Zephyr DMIC API on PDM20).
 *
 * PDM20 is connected to an external digital microphone:
 *   CLK: P1.12
 *   DIN: P1.11
 *
 * Data path: microphone -> PDM20 (DMA double-buffering into a memory
 * slab) -> pdm_capture_read() -> one AUDIO_BLOCK_SIZE PCM block per call.
 * Each block is exactly one Opus frame (see audio_defs.h).
 *
 * SPDX-License-Identifier: Apache-2.0
 */

#include <errno.h>
#include <stddef.h>
#include <stdint.h>

#include <zephyr/audio/dmic.h>
#include <zephyr/device.h>
#include <zephyr/devicetree.h>
#include <zephyr/drivers/pinctrl.h>
#include <zephyr/init.h>
#include <zephyr/kernel.h>

#include <zephyr/logging/log.h>

#include "audio_defs.h"
#include "pdm_capture.h"

LOG_MODULE_REGISTER(pdm_capture, LOG_LEVEL_INF);

#define PDM_NODE	DT_NODELABEL(pdm20)
#define DMIC_NODE	DT_NODELABEL(pdm20_dmic)

#define READ_TIMEOUT_MS	1000

/* A sustained stall is this many consecutive read timeouts (~5 s). */
#define STALL_RESTART_THRESHOLD	5U

BUILD_ASSERT(DT_NODE_HAS_STATUS(PDM_NODE, okay), "PDM20 is not enabled");
BUILD_ASSERT(DT_NODE_HAS_STATUS(DMIC_NODE, okay), "PDM DMIC node is not enabled");
BUILD_ASSERT((AUDIO_BLOCK_SIZE % 4) == 0, "Audio block must be 4-byte aligned");

/* The sample rate is constrained to Opus-legal values by the Kconfig
 * choice, so no BUILD_ASSERT is needed here. */

/* DMA buffers: one slab block per driver queue entry. The devicetree
 * queue-size is the single source of truth: the driver caps its queue of
 * filled, unread blocks at queue-size, so a slab of the same size covers
 * the queue plus the DMA double-buffer while the consumer is stalled.
 * 16 x 20 ms = 320 ms of slack, sized to cover a LittleFS block erase
 * during recording (MX25R64 4 KB sector erase, max ~300 ms). */
#define AUDIO_BLOCK_COUNT	DT_PROP(PDM_NODE, queue_size)

K_MEM_SLAB_DEFINE_STATIC(audio_mem_slab, AUDIO_BLOCK_SIZE,
			 AUDIO_BLOCK_COUNT, 4);

static const struct device *const dmic_dev = DEVICE_DT_GET(PDM_NODE);

/* The DMIC driver has no PM support and applies the default pin state at
 * init, which connects the DIN input buffer: a powered microphone's
 * internal activity then leaks current into the SoC GPIO rail even while
 * PDM is off. Manage the pin states manually: sleep (input buffers
 * disconnected) whenever capture is stopped. The driver's own pinctrl
 * config is static to its compilation unit, so define a private copy
 * here (same DT node, a few bytes of duplicate ROM data). */
PINCTRL_DT_DEFINE(PDM_NODE);
static const struct pinctrl_dev_config *const pdm_pcfg =
	PINCTRL_DT_DEV_CONFIG_GET(PDM_NODE);

static void build_dmic_config(struct dmic_cfg *cfg,
			      struct pcm_stream_cfg *stream,
			      bool enabled)
{
	*stream = (struct pcm_stream_cfg) {
		.pcm_rate = enabled ? SAMPLE_RATE : 0,
		.pcm_width = enabled ? SAMPLE_BIT_WIDTH : 0,
		.block_size = AUDIO_BLOCK_SIZE,
		.mem_slab = &audio_mem_slab,
	};

	*cfg = (struct dmic_cfg) {
		.io = PDM_DT_IO_CFG_GET(DMIC_NODE),
		.streams = stream,
		.channel = {
			.req_num_streams = 1,
			.req_num_chan = CHANNEL_COUNT,
		},
	};

	/* Industry convention vs. the NCS PDM driver's slot labels:
	 *
	 *   Mic SEL strap | Data valid on | Industry PCM channel | Driver slot label
	 *   --------------+---------------+----------------------+------------------
	 *   GND ("left")  | rising edge   | channel 0 (left)     | PDM_CHAN_RIGHT
	 *   VDD ("right") | falling edge  | channel 1 (right)    | PDM_CHAN_LEFT
	 *
	 * The driver derives the sampling edge from the requested channel
	 * map: def_map (ch0=LEFT, ch1=RIGHT) selects NRF_PDM_EDGE_LEFTFALLING,
	 * alt_map (ch0=RIGHT, ch1=LEFT) selects NRF_PDM_EDGE_LEFTRISING.
	 * Requesting the slots swapped therefore lands the SEL-low
	 * microphone on channel 0, as the industry convention expects.
	 * Alias the driver labels by the edge they actually select. */
#define PDM_SLOT_FALLING_EDGE	PDM_CHAN_LEFT
#define PDM_SLOT_RISING_EDGE	PDM_CHAN_RIGHT

#if CONFIG_PDM_DEMO_STEREO
	cfg->channel.req_chan_map_lo =
		dmic_build_channel_map(0, 0, PDM_SLOT_RISING_EDGE) |
		dmic_build_channel_map(1, 0, PDM_SLOT_FALLING_EDGE);
#elif CONFIG_PDM_DEMO_MONO_FALLING_EDGE
	cfg->channel.req_chan_map_lo =
		dmic_build_channel_map(0, 0, PDM_SLOT_FALLING_EDGE);
#else
	cfg->channel.req_chan_map_lo =
		dmic_build_channel_map(0, 0, PDM_SLOT_RISING_EDGE);
#endif
}

static int configure_dmic(bool enabled)
{
	struct dmic_cfg cfg;
	struct pcm_stream_cfg stream;

	build_dmic_config(&cfg, &stream, enabled);
	return dmic_configure(dmic_dev, &cfg);
}

int pdm_capture_start(void)
{
	int ret;

	(void)pinctrl_apply_state(pdm_pcfg, PINCTRL_STATE_DEFAULT);

	ret = configure_dmic(true);
	if (ret < 0) {
		LOG_ERR("DMIC configure failed: %d", ret);
		return ret;
	}

	ret = dmic_trigger(dmic_dev, DMIC_TRIGGER_START);
	if (ret < 0) {
		LOG_ERR("DMIC start failed: %d", ret);
		(void)configure_dmic(false);
		return ret;
	}

	LOG_INF("PDM capture started (%s)", IS_ENABLED(CONFIG_PDM_DEMO_STEREO) ?
		"stereo" : (IS_ENABLED(CONFIG_PDM_DEMO_MONO_FALLING_EDGE) ?
		"mono-falling-edge" : "mono-rising-edge"));

	return 0;
}

void pdm_capture_stop(void)
{
	int ret = dmic_trigger(dmic_dev, DMIC_TRIGGER_STOP);

	if (ret < 0) {
		LOG_ERR("DMIC stop failed: %d", ret);
	}

	/* Drain queued blocks so the slab is whole for the next session. */
	void *buffer;
	size_t size;

	while (dmic_read(dmic_dev, 0, &buffer, &size, 0) == 0) {
		k_mem_slab_free(&audio_mem_slab, buffer);
	}

	(void)configure_dmic(false);
	(void)pinctrl_apply_state(pdm_pcfg, PINCTRL_STATE_SLEEP);
	LOG_INF("PDM capture stopped");
}

int pdm_capture_read(void **buf, size_t *size)
{
	static uint32_t stall_count;
	int ret;

	while (true) {
		ret = dmic_read(dmic_dev, 0, buf, size, READ_TIMEOUT_MS);
		if (ret == 0) {
			stall_count = 0;
			return 0;
		}

		if (ret != -EAGAIN) {
			LOG_ERR("DMIC read failed: %d", ret);
			return ret;
		}

		/* -EAGAIN: read timeout. The PDM driver stops permanently if
		 * the slab ever runs dry (e.g. a long flash erase stalls the
		 * consumer loop). Restart capture after a sustained stall
		 * instead of staying silent forever. */
		if (++stall_count >= STALL_RESTART_THRESHOLD) {
			LOG_WRN("PDM stalled, restarting capture");
			(void)configure_dmic(false);
			if (pdm_capture_start() == 0) {
				stall_count = 0;
			}
		}
	}
}

void pdm_capture_free(void *buf)
{
	k_mem_slab_free(&audio_mem_slab, buf);
}

int pdm_capture_init(void)
{
	if (!device_is_ready(dmic_dev)) {
		LOG_ERR("PDM device is not ready");
		return -ENODEV;
	}

	/* DMIC init (POST_KERNEL) applied the default pin state; go to sleep
	 * state until the first recording starts. */
	(void)pinctrl_apply_state(pdm_pcfg, PINCTRL_STATE_SLEEP);
	return 0;
}

/* GPIO/pinctrl devices are ready from POST_KERNEL already. */
SYS_INIT(pdm_capture_init, APPLICATION, 80);
```

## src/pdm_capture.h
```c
/*
 * PDM capture module (Zephyr DMIC API on PDM20).
 *
 * This file is the "PDM" chapter of the demo: it owns everything between
 * the digital microphone and a plain PCM buffer - the DMIC driver
 * configuration, the DMA memory slab, the pin power states and the
 * stall recovery - so that main.c only sees start/read/stop.
 *
 * SPDX-License-Identifier: Apache-2.0
 */

#ifndef PDM_CAPTURE_H
#define PDM_CAPTURE_H

#include <stddef.h>

/* Apply the sleep pin state (input buffers disconnected) until the first
 * capture starts. Runs automatically via SYS_INIT. */
int pdm_capture_init(void);

/* Power up the pins, configure the DMIC and start DMA capture. */
int pdm_capture_start(void);

/* Stop DMA, drain queued blocks back to the slab and put the pins to
 * sleep. Safe to call once per pdm_capture_start(). */
void pdm_capture_stop(void);

/* Fetch the next PCM block (AUDIO_BLOCK_SIZE bytes, blocking).
 * If the driver stalls because the slab ran dry (e.g. a long flash erase
 * starved the loop), capture is restarted automatically; the caller only
 * sees a later block. Returns 0 on success, a negative error code when
 * the driver reported a fatal error. */
int pdm_capture_read(void **buf, size_t *size);

/* Return a block obtained from pdm_capture_read() to the slab. */
void pdm_capture_free(void *buf);

#endif /* PDM_CAPTURE_H */
```

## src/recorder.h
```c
/*
 * Opus frame recorder on LittleFS (external flash).
 *
 * SPDX-License-Identifier: Apache-2.0
 */

#ifndef RECORDER_H
#define RECORDER_H

#include <stdbool.h>
#include <stdint.h>

/* Check the auto-mounted /lfs1 volume and find the next free file index. */
int recorder_init(void);

/* Start recording into /lfs1/rec_XXXX.opus (Ogg Opus, directly playable).
 * Returns -EBUSY while a previous clip is still being recorded. */
int recorder_start(void);

/* Flush and close the current clip (no-op when not recording). Called
 * automatically at the CONFIG_PDM_DEMO_REC_SECONDS cap; call it to stop
 * early (button). */
void recorder_stop(void);

/* Feed one encoded Opus frame; written only while recording. The file is
 * synced and closed automatically after CONFIG_PDM_DEMO_REC_SECONDS. */
void recorder_feed_frame(const uint8_t *data, uint16_t len);

bool recorder_is_recording(void);

/* Delete every rec_*.opus on /lfs1 and reset the file index to 0.
 * Returns the number of deleted files, or -EBUSY while recording. */
int recorder_delete_all(void);

#endif /* RECORDER_H */
```

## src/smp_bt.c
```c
/*
 * BLE SMP advertising for the MCUMgr file management demo.
 *
 * Modelled on zephyr/samples/subsys/mgmt/mcumgr/smp_svr/src/bluetooth.c:
 * advertise the SMP service UUID, restart advertising once the previous
 * connection object is recycled. Unauthenticated (no pairing).
 *
 * SPDX-License-Identifier: Apache-2.0
 */

#include <zephyr/bluetooth/bluetooth.h>
#include <zephyr/bluetooth/conn.h>
#include <zephyr/bluetooth/gatt.h>
#include <zephyr/bluetooth/hci.h>
#include <zephyr/init.h>
#include <zephyr/mgmt/mcumgr/transport/smp_bt.h>

#include <zephyr/logging/log.h>

#include "smp_bt.h"

LOG_MODULE_REGISTER(smp_bt, LOG_LEVEL_INF);

static struct k_work advertise_work;

/* 300 ms interval (in 0.625 ms units): much lower idle current than
 * BT_LE_ADV_CONN_FAST_1 (~50 ms), still connects quickly enough. */
#define ADV_INTERVAL_300MS	0x1E0

static const struct bt_data ad[] = {
	BT_DATA_BYTES(BT_DATA_FLAGS, (BT_LE_AD_GENERAL | BT_LE_AD_NO_BREDR)),
	BT_DATA_BYTES(BT_DATA_UUID128_ALL, SMP_BT_SVC_UUID_VAL),
};

static const struct bt_data sd[] = {
	BT_DATA(BT_DATA_NAME_COMPLETE, CONFIG_BT_DEVICE_NAME,
		sizeof(CONFIG_BT_DEVICE_NAME) - 1),
};

static void advertise(struct k_work *work)
{
	int rc = bt_le_adv_start(
		BT_LE_ADV_PARAM(BT_LE_ADV_OPT_CONN, ADV_INTERVAL_300MS,
				ADV_INTERVAL_300MS, NULL),
		ad, ARRAY_SIZE(ad), sd, ARRAY_SIZE(sd));

	if (rc) {
		LOG_ERR("Advertising failed to start (rc %d)", rc);
		return;
	}

	LOG_INF("SMP advertising started (name \"%s\")", CONFIG_BT_DEVICE_NAME);
}

static void connected(struct bt_conn *conn, uint8_t err)
{
	if (err) {
		LOG_ERR("Connection failed, err 0x%02x %s", err,
			bt_hci_err_to_str(err));
		k_work_submit(&advertise_work);
	} else {
		LOG_INF("BLE connected");
	}
}

/* Log connection parameter updates: MCUMgr's conn-param control requests
 * fast intervals (7.5-11.25 ms) while SMP packets flow and restores the
 * peripheral preferred values (100-200 ms, see prj.conf) after 5 s of
 * inactivity - fast transfers without paying for them at idle. */
static void le_param_updated(struct bt_conn *conn, uint16_t interval,
			     uint16_t latency, uint16_t timeout)
{
	LOG_INF("BLE conn params: interval %u.%u ms, latency %u, "
		"timeout %u ms",
		(unsigned)(interval * 5 / 4), (unsigned)(interval * 5 % 4 * 25),
		latency, (unsigned)(timeout * 10));
}

static void disconnected(struct bt_conn *conn, uint8_t reason)
{
	LOG_INF("BLE disconnected, reason 0x%02x %s", reason,
		bt_hci_err_to_str(reason));
}

static void on_conn_recycled(void)
{
	k_work_submit(&advertise_work);
}

BT_CONN_CB_DEFINE(smp_conn_callbacks) = {
	.connected = connected,
	.disconnected = disconnected,
	.le_param_updated = le_param_updated,
	.recycled = on_conn_recycled,
};

static void bt_ready(int err)
{
	if (err != 0) {
		LOG_ERR("Bluetooth init failed: %d", err);
		return;
	}

	k_work_submit(&advertise_work);
}

int smp_bt_start(void)
{
	k_work_init(&advertise_work, advertise);
	return bt_enable(bt_ready);
}

/* Self-init; independent of the recorder/encoder init order. */
SYS_INIT(smp_bt_start, APPLICATION, 70);
```

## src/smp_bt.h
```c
/*
 * BLE SMP advertising for the MCUMgr file management demo.
 *
 * SPDX-License-Identifier: Apache-2.0
 */

#ifndef SMP_BT_H
#define SMP_BT_H

/* Enable Bluetooth and start advertising the SMP service. Returns 0 if
 * advertising was (asynchronously) scheduled, a negative error code if
 * Bluetooth failed to initialise. File management stays available over
 * UART even when this fails. */
int smp_bt_start(void);

#endif /* SMP_BT_H */
```
